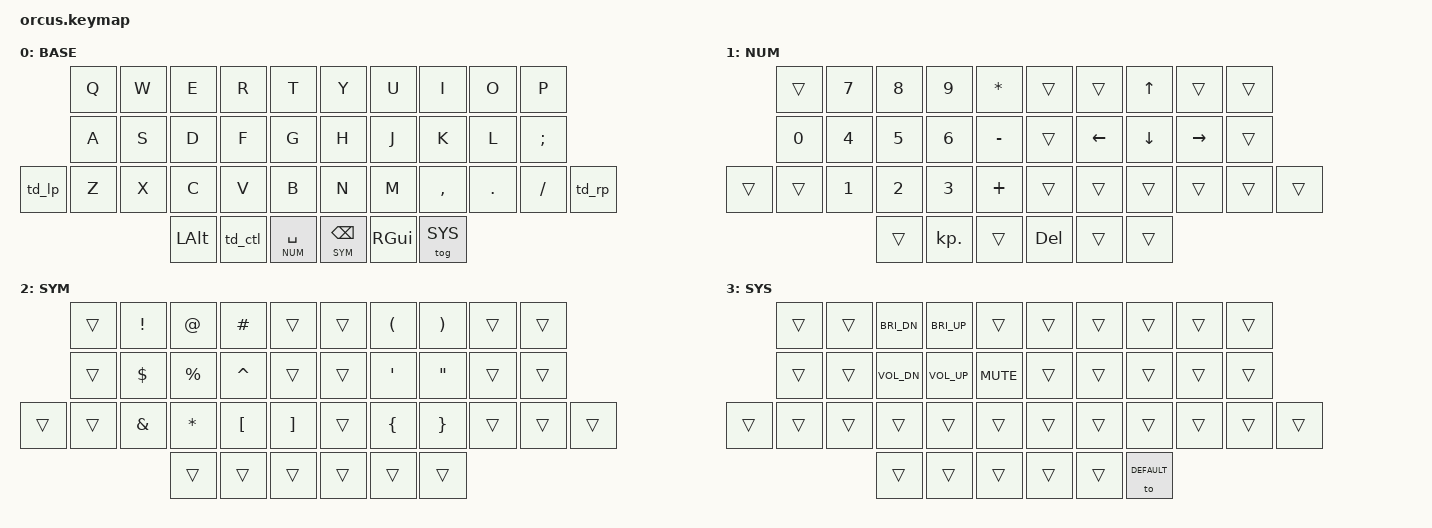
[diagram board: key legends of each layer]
#include <behaviors.dtsi>
#include <dt-bindings/zmk/keys.h>
#include <dt-bindings/zmk/bt.h>
#include <dt-bindings/zmk/outputs.h>

#define DEFAULT 0
#define NUM     1
#define SYM     2
#define SYS     3
#define MAC     4


/ {     
        behaviors {
                td_lp: tap_dance_left_pinky {
                        compatible = "zmk,behavior-tap-dance";
                        #binding-cells = <0>;
                        tapping-term-ms = <200>;
                        bindings = <&mt LSHIFT TAB>, <&kp ESC>;
                };

                td_rp: tap_dance_right_pinky {
                        compatible = "zmk,behavior-tap-dance";
                        #binding-cells = <0>;
                        tapping-term-ms = <200>;
                        bindings = <&mt RSHIFT ENTER>, <&kp DEL>;
                };

                td_ctl: tap_dance_ctrl_cmd {
                        compatible = "zmk,behavior-tap-dance";
                        #binding-cells = <0>;
                        tapping-term-ms = <200>;
                        bindings = <&kp LCTRL>, <&kp LGUI>;
                };

                lt_spc: layer_tap_space {
                        compatible = "zmk,behavior-hold-tap";
                        #binding-cells = <2>;
                        flavor = "balanced";
                        tapping-term-ms = <180>;
                        bindings = <&mo>, <&kp>;
                };
        };
           
        keymap {
                compatible = "zmk,keymap";

                default_layer {
// ┏━━━━━━━━━━━━━━━━━━━━━━━━━━━━━━━━━━━━━━━┓
display-name = "BASE"                      ;
// ┗━━━━━━━━━━━━━━━━━━━━━━━━━━━━━━━━━━━━━━━┛
//             ┏━━━━━━━━━━━┳━━━━━━━━━━━┳━━━━━━━━━━━┳━━━━━━━━━━━┳━━━━━━━━━━━┓   ┏━━━━━━━━━━━┳━━━━━━━━━━━┳━━━━━━━━━━━┳━━━━━━━━━━━┳━━━━━━━━━━━┓
//             ┃     Q     ┃     W     ┃     E     ┃     R     ┃     T     ┃   ┃     Y     ┃     U     ┃     I     ┃     O     ┃     P     ┃   
//             ┣━━━━━━━━━━━┣━━━━━━━━━━━┣━━━━━━━━━━━╋━━━━━━━━━━━╋━━━━━━━━━━━┫   ┣━━━━━━━━━━━╋━━━━━━━━━━━╋━━━━━━━━━━━╋━━━━━━━━━━━┻━━━━━━━━━━━┫
//             ┃     A     ┃     S     ┃     D     ┃     F     ┃     G     ┃   ┃     H     ┃     J     ┃     K     ┃     L     ┃     ;     ┃    
// ┏━━━━━━━━━━━┣━━━━━━━━━━━┣━━━━━━━━━━━┣━━━━━━━━━━━╋━━━━━━━━━━━╋━━━━━━━━━━━┫   ┣━━━━━━━━━━━╋━━━━━━━━━━━╋━━━━━━━━━━━╋━━━━━━━━━━━╋━━━━━━━━━━━┫━━━━━━━━━━━┓
// ┃  td_lp    ┃     Z     ┃     X     ┃   C/COPY  ┃  V/PASTE  ┃     B     ┃   ┃     N     ┃     M     ┃     ,     ┃     .     ┃     /     ┃   td_rp   ┃
// ┗━━━━━━━━━━━┻━━━━━━━━━━━┻━━━━━━━━━━━┣━━━━━━━━━━━╋━━━━━━━━━━━╋━━━━━━━━━━━┫   ┣━━━━━━━━━━━╋━━━━━━━━━━━╋━━━━━━━━━━━╋━━━━━━━━━━━┻━━━━━━━━━━━┻━━━━━━━━━━━┛
//                                     ┃    LALT   ┃ CTRL/CMD  ┃   SPACE   ┃   ┃    BSPC   ┃    RGUI   ┃    SYS    ┃
//                                     ┗━━━━━━━━━━━┻━━━━━━━━━━━┻━━━━━━━━━━━┛   ┗━━━━━━━━━━━┻━━━━━━━━━━━┻━━━━━━━━━━━┛
 bindings = <
// ╷           ╷           ╷           ╷           ╷           ╷           ╷   ╷           ╷           ╷           ╷           ╷           ╷           ╷

                  &kp Q       &kp W       &kp E       &kp R       &kp T           &kp Y       &kp U       &kp I       &kp O       &kp P       
                  &kp A       &kp S       &kp D       &kp F       &kp G           &kp H       &kp J       &kp K       &kp L       &kp SEMI    
      &td_lp      &kp Z       &kp X       &kp C       &kp V       &kp B           &kp N       &kp M       &kp COMMA   &kp DOT     &kp SLASH   &td_rp
                                          &kp LALT    &td_ctl     &lt_spc NUM SPACE   &lt SYM BSPC &kp RGUI   &tog SYS   
                        >;
                };


                num {
// ┏━━━━━━━━━━━━━━━━━━━━━━━━━━━━━━━━━━━━━━━┓
display-name = "NUM"                      ;
// ┗━━━━━━━━━━━━━━━━━━━━━━━━━━━━━━━━━━━━━━━┛
//             ┏━━━━━━━━━━━┳━━━━━━━━━━━┳━━━━━━━━━━━┳━━━━━━━━━━━┳━━━━━━━━━━━┓   ┏━━━━━━━━━━━┳━━━━━━━━━━━┳━━━━━━━━━━━┳━━━━━━━━━━━┳━━━━━━━━━━━┓
//             ┃   trans   ┃     N7    ┃     N8    ┃     N9    ┃   trans   ┃   ┃   trans   ┃   trans   ┃     UP    ┃   trans   ┃   trans   ┃   
//             ┣━━━━━━━━━━━┣━━━━━━━━━━━┣━━━━━━━━━━━╋━━━━━━━━━━━╋━━━━━━━━━━━┫   ┣━━━━━━━━━━━╋━━━━━━━━━━━╋━━━━━━━━━━━╋━━━━━━━━━━━┻━━━━━━━━━━━┫
//             ┃    N1     ┃     N4    ┃     N5    ┃     N6    ┃   trans   ┃   ┃   trans   ┃    LEFT   ┃    DOWN   ┃   RIGHT   ┃   trans   ┃    
// ┏━━━━━━━━━━━┣━━━━━━━━━━━┣━━━━━━━━━━━┣━━━━━━━━━━━╋━━━━━━━━━━━╋━━━━━━━━━━━┫   ┣━━━━━━━━━━━╋━━━━━━━━━━━╋━━━━━━━━━━━╋━━━━━━━━━━━╋━━━━━━━━━━━┫━━━━━━━━━━━┓
// ┃   trans   ┃   trans   ┃     N1    ┃     N2    ┃     N3    ┃   trans   ┃   ┃   trans   ┃   trans   ┃   trans   ┃   trans   ┃   trans   ┃   trans   ┃
// ┗━━━━━━━━━━━┻━━━━━━━━━━━┻━━━━━━━━━━━┣━━━━━━━━━━━╋━━━━━━━━━━━╋━━━━━━━━━━━┫   ┣━━━━━━━━━━━╋━━━━━━━━━━━╋━━━━━━━━━━━╋━━━━━━━━━━━┻━━━━━━━━━━━┻━━━━━━━━━━━┛
//                                     ┃   trans   ┃   KP_DOT  ┃   trans   ┃   ┃   trans   ┃   trans   ┃   trans   ┃
//                                     ┗━━━━━━━━━━━┻━━━━━━━━━━━┻━━━━━━━━━━━┛   ┗━━━━━━━━━━━┻━━━━━━━━━━━┻━━━━━━━━━━━┛
 bindings = <
// ╷           ╷           ╷           ╷           ╷           ╷           ╷   ╷           ╷           ╷           ╷           ╷           ╷           ╷

                  &trans      &kp N7      &kp N8      &kp N9      &kp STAR        &trans      &trans      &kp UP      &trans      &trans     
                  &kp N0      &kp N4      &kp N5      &kp N6      &kp MINUS       &trans      &kp LEFT    &kp DOWN    &kp RIGHT   &trans  
      &trans      &trans      &kp N1      &kp N2      &kp N3      &kp PLUS        &trans      &trans      &trans      &trans      &trans      &trans  
                                          &trans      &kp KP_DOT  &trans          &kp DEL     &trans      &trans   
                        >;
                };


                sym {
// ┏━━━━━━━━━━━━━━━━━━━━━━━━━━━━━━━━━━━━━━━┓
display-name = "SYM"                      ;
// ┗━━━━━━━━━━━━━━━━━━━━━━━━━━━━━━━━━━━━━━━┛
//             ┏━━━━━━━━━━━┳━━━━━━━━━━━┳━━━━━━━━━━━┳━━━━━━━━━━━┳━━━━━━━━━━━┓   ┏━━━━━━━━━━━┳━━━━━━━━━━━┳━━━━━━━━━━━┳━━━━━━━━━━━┳━━━━━━━━━━━┓
//             ┃   trans   ┃     !     ┃     @     ┃     #     ┃   trans   ┃   ┃   trans   ┃     (     ┃     )     ┃   trans   ┃   trans   ┃   
//             ┣━━━━━━━━━━━┣━━━━━━━━━━━┣━━━━━━━━━━━╋━━━━━━━━━━━╋━━━━━━━━━━━┫   ┣━━━━━━━━━━━╋━━━━━━━━━━━╋━━━━━━━━━━━╋━━━━━━━━━━━┻━━━━━━━━━━━┫
//             ┃   trans   ┃     $     ┃     %     ┃     ^     ┃   trans   ┃   ┃   trans   ┃     '     ┃     "     ┃   trans   ┃   trans   ┃    
// ┏━━━━━━━━━━━┣━━━━━━━━━━━┣━━━━━━━━━━━┣━━━━━━━━━━━╋━━━━━━━━━━━╋━━━━━━━━━━━┫   ┣━━━━━━━━━━━╋━━━━━━━━━━━╋━━━━━━━━━━━╋━━━━━━━━━━━╋━━━━━━━━━━━┫━━━━━━━━━━━┓
// ┃   trans   ┃   trans   ┃     &     ┃     *     ┃     [     ┃     ]     ┃   ┃   trans   ┃     {     ┃     }     ┃   trans   ┃   trans   ┃   trans   ┃
// ┗━━━━━━━━━━━┻━━━━━━━━━━━┻━━━━━━━━━━━┣━━━━━━━━━━━╋━━━━━━━━━━━╋━━━━━━━━━━━┫   ┣━━━━━━━━━━━╋━━━━━━━━━━━╋━━━━━━━━━━━╋━━━━━━━━━━━┻━━━━━━━━━━━┻━━━━━━━━━━━┛
//                                     ┃   trans   ┃   trans   ┃   trans   ┃   ┃   trans   ┃   trans   ┃   trans   ┃
//                                     ┗━━━━━━━━━━━┻━━━━━━━━━━━┻━━━━━━━━━━━┛   ┗━━━━━━━━━━━┻━━━━━━━━━━━┻━━━━━━━━━━━┛
 bindings = <
// ╷           ╷           ╷           ╷           ╷           ╷           ╷   ╷           ╷           ╷           ╷           ╷           ╷           ╷

                  &trans      &kp EXCL    &kp AT      &kp HASH    &trans          &trans      &kp LPAR    &kp RPAR     &trans      &trans     
                  &trans      &kp DLLR    &kp PRCNT   &kp CARET   &trans          &trans      &kp APOS    &kp DQT      &trans     &trans  
      &trans      &trans      &kp AMPS    &kp STAR    &kp LBKT    &kp RBKT        &trans      &kp LBRC    &kp RBRC     &trans     &trans      &trans  
                                          &trans      &trans      &trans          &trans      &trans      &trans  
                        >;
                };


                sys {
// ┏━━━━━━━━━━━━━━━━━━━━━━━━━━━━━━━━━━━━━━━┓
display-name = "SYS"                      ;
// ┗━━━━━━━━━━━━━━━━━━━━━━━━━━━━━━━━━━━━━━━┛
//             ┏━━━━━━━━━━━┳━━━━━━━━━━━┳━━━━━━━━━━━┳━━━━━━━━━━━┳━━━━━━━━━━━┓   ┏━━━━━━━━━━━┳━━━━━━━━━━━┳━━━━━━━━━━━┳━━━━━━━━━━━┳━━━━━━━━━━━┓
//             ┃     Q     ┃     W     ┃   BRI_DN  ┃   BRI_UP  ┃     T     ┃   ┃     Y     ┃     U     ┃     I     ┃     O     ┃     P     ┃   
//             ┣━━━━━━━━━━━┣━━━━━━━━━━━┣━━━━━━━━━━━╋━━━━━━━━━━━╋━━━━━━━━━━━┫   ┣━━━━━━━━━━━╋━━━━━━━━━━━╋━━━━━━━━━━━╋━━━━━━━━━━━┻━━━━━━━━━━━┫
//             ┃     A     ┃     S     ┃   VOL_DN  ┃   VOL_UP  ┃    MUTE   ┃   ┃     H     ┃     J     ┃     K     ┃     L     ┃     ;     ┃    
// ┏━━━━━━━━━━━┣━━━━━━━━━━━┣━━━━━━━━━━━┣━━━━━━━━━━━╋━━━━━━━━━━━╋━━━━━━━━━━━┫   ┣━━━━━━━━━━━╋━━━━━━━━━━━╋━━━━━━━━━━━╋━━━━━━━━━━━╋━━━━━━━━━━━┫━━━━━━━━━━━┓
// ┃   LSHFT   ┃     Z     ┃     X     ┃     C     ┃     V     ┃     B     ┃   ┃     N     ┃     M     ┃     ,     ┃     .     ┃     /     ┃   RSHFT   ┃
// ┗━━━━━━━━━━━┻━━━━━━━━━━━┻━━━━━━━━━━━┣━━━━━━━━━━━╋━━━━━━━━━━━╋━━━━━━━━━━━┫   ┣━━━━━━━━━━━╋━━━━━━━━━━━╋━━━━━━━━━━━╋━━━━━━━━━━━┻━━━━━━━━━━━┻━━━━━━━━━━━┛
//                                     ┃   LCTRL   ┃    LALT   ┃  DEFAULT  ┃   ┃   ENTER   ┃    RALT   ┃   RCTRL   ┃
//                                     ┗━━━━━━━━━━━┻━━━━━━━━━━━┻━━━━━━━━━━━┛   ┗━━━━━━━━━━━┻━━━━━━━━━━━┻━━━━━━━━━━━┛
 bindings = <
// ╷           ╷           ╷           ╷           ╷           ╷           ╷   ╷           ╷           ╷           ╷           ╷           ╷           ╷

                  &trans      &trans      &kp C_BRI_DN &kp C_BRI_UP &trans          &trans      &trans      &trans      &trans      &trans     
                  &trans      &trans      &kp C_VOL_DN &kp C_VOL_UP &kp C_MUTE      &trans      &trans      &trans      &trans      &trans  
      &trans      &trans      &trans      &trans       &trans       &trans          &trans      &trans      &trans      &trans      &trans      &trans  
                                          &trans       &trans       &trans          &trans      &trans      &to DEFAULT  
                        >;
                };
        };
};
